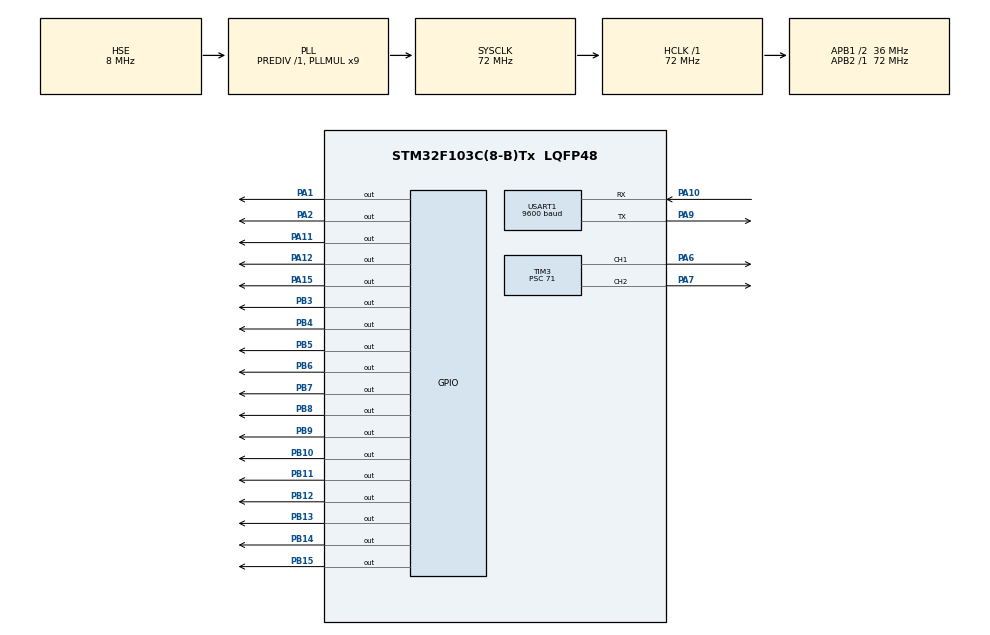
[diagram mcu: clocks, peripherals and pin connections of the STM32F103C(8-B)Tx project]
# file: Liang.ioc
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Mcu.Family=STM32F1
Mcu.Name=STM32F103C(8-B)Tx
Mcu.Package=LQFP48
NVIC.PriorityGroup=NVIC_PRIORITYGROUP_4
PA1.Signal=GPIO_Output
PA10.Mode=Asynchronous
PA10.Signal=USART1_RX
PA11.GPIO_PuPd=GPIO_PULLUP
PA11.PinState=GPIO_PIN_RESET
PA11.Signal=GPIO_Output
PA12.GPIO_PuPd=GPIO_PULLUP
PA12.PinState=GPIO_PIN_RESET
PA12.Signal=GPIO_Output
PA13.Mode=Serial_Wire
PA13.Signal=SYS_JTMS-SWDIO
PA14.Mode=Serial_Wire
PA14.Signal=SYS_JTCK-SWCLK
PA15.GPIO_PuPd=GPIO_PULLUP
PA15.PinState=GPIO_PIN_RESET
PA15.Signal=GPIO_Output
PA2.Signal=GPIO_Output
PA6.Signal=S_TIM3_CH1
PA7.Signal=S_TIM3_CH2
PA9.Mode=Asynchronous
PA9.Signal=USART1_TX
PB10.Signal=GPIO_Output
PB11.Signal=GPIO_Output
PB12.Signal=GPIO_Output
PB13.Signal=GPIO_Output
PB14.GPIO_PuPd=GPIO_PULLUP
PB14.PinState=GPIO_PIN_RESET
PB14.Signal=GPIO_Output
PB15.GPIO_PuPd=GPIO_PULLUP
PB15.PinState=GPIO_PIN_RESET
PB15.Signal=GPIO_Output
PB3.GPIO_PuPd=GPIO_PULLUP
PB3.PinState=GPIO_PIN_RESET
PB3.Signal=GPIO_Output
PB4.GPIO_PuPd=GPIO_PULLUP
PB4.PinState=GPIO_PIN_RESET
PB4.Signal=GPIO_Output
PB5.GPIO_PuPd=GPIO_PULLUP
PB5.PinState=GPIO_PIN_RESET
PB5.Signal=GPIO_Output
PB6.GPIO_PuPd=GPIO_PULLUP
PB6.Signal=GPIO_Output
PB7.GPIO_PuPd=GPIO_PULLUP
PB7.Signal=GPIO_Output
PB8.GPIO_PuPd=GPIO_PULLUP
PB8.Signal=GPIO_Output
PB9.GPIO_PuPd=GPIO_PULLUP
PB9.Signal=GPIO_Output
PD0-OSC_IN.Mode=HSE-External-Oscillator
PD0-OSC_IN.Signal=RCC_OSC_IN
PD1-OSC_OUT.Mode=HSE-External-Oscillator
PD1-OSC_OUT.Signal=RCC_OSC_OUT
ProjectManager.HeapSize=0x200
ProjectManager.StackSize=0x400
ProjectManager.TargetToolchain=MDK-ARM V5.32
RCC.AHBFreq_Value=72000000
RCC.APB1CLKDivider=RCC_HCLK_DIV2
RCC.APB1Freq_Value=36000000
RCC.APB1TimFreq_Value=72000000
RCC.APB2Freq_Value=72000000
RCC.APB2TimFreq_Value=72000000
RCC.HCLKFreq_Value=72000000
RCC.PLLMUL=RCC_PLL_MUL9
RCC.PLLSourceVirtual=RCC_PLLSOURCE_HSE
RCC.SYSCLKFreq_VALUE=72000000
RCC.SYSCLKSource=RCC_SYSCLKSOURCE_PLLCLK
RCC.USBFreq_Value=72000000
SH.S_TIM3_CH1.0=TIM3_CH1,PWM Generation1 CH1
SH.S_TIM3_CH2.0=TIM3_CH2,PWM Generation2 CH2
TIM3.AutoReloadPreload=TIM_AUTORELOAD_PRELOAD_ENABLE
TIM3.Channel-PWM\ Generation1\ CH1=TIM_CHANNEL_1
TIM3.Channel-PWM\ Generation2\ CH2=TIM_CHANNEL_2
TIM3.Period=9999
TIM3.Prescaler=71
USART1.BaudRate=9600
USART1.VirtualMode=VM_ASYNC
board=custom

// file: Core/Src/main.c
/* USER CODE BEGIN Header */
/**
  ******************************************************************************
  * @file           : main.c
  * @brief          : Main program body
  ******************************************************************************
  * @attention
  *
  * Copyright (c) 2023 STMicroelectronics.
  * All rights reserved.
  *
  * This software is licensed under terms that can be found in the LICENSE file
  * in the root directory of this software component.
  * If no LICENSE file comes with this software, it is provided AS-IS.
  *
  ******************************************************************************
  */
/* USER CODE END Header */
#include "main.h"
#include "tim.h"
#include "usart.h"
#include "gpio.h"

/* USER CODE BEGIN Includes */
#define M1_1_H    HAL_GPIO_WritePin(GPIOB,GPIO_PIN_5,GPIO_PIN_SET)
#define M1_2_H    HAL_GPIO_WritePin(GPIOB,GPIO_PIN_4,GPIO_PIN_SET)
#define M2_1_H    HAL_GPIO_WritePin(GPIOB,GPIO_PIN_3,GPIO_PIN_SET)
#define M2_2_H    HAL_GPIO_WritePin(GPIOA,GPIO_PIN_15,GPIO_PIN_SET)
#define M3_1_H    HAL_GPIO_WritePin(GPIOA,GPIO_PIN_12,GPIO_PIN_SET)
#define M3_2_H    HAL_GPIO_WritePin(GPIOA,GPIO_PIN_11,GPIO_PIN_SET)
#define M4_1_H    HAL_GPIO_WritePin(GPIOB,GPIO_PIN_15,GPIO_PIN_SET)
#define M4_2_H    HAL_GPIO_WritePin(GPIOB,GPIO_PIN_14,GPIO_PIN_SET)

#define M1_1_L    HAL_GPIO_WritePin(GPIOB,GPIO_PIN_5,GPIO_PIN_RESET)
#define M1_2_L    HAL_GPIO_WritePin(GPIOB,GPIO_PIN_4,GPIO_PIN_RESET)
#define M2_1_L    HAL_GPIO_WritePin(GPIOB,GPIO_PIN_3,GPIO_PIN_RESET)
#define M2_2_L    HAL_GPIO_WritePin(GPIOA,GPIO_PIN_15,GPIO_PIN_RESET)
#define M3_1_L    HAL_GPIO_WritePin(GPIOA,GPIO_PIN_12,GPIO_PIN_RESET)
#define M3_2_L    HAL_GPIO_WritePin(GPIOA,GPIO_PIN_11,GPIO_PIN_RESET)
#define M4_1_L    HAL_GPIO_WritePin(GPIOB,GPIO_PIN_15,GPIO_PIN_RESET)
#define M4_2_L    HAL_GPIO_WritePin(GPIOB,GPIO_PIN_14,GPIO_PIN_RESET)
/* USER CODE END Includes */

/* USER CODE BEGIN PM */
float MWmotor1=0,MWmotor2=0,MWmotor3=0,MWmotor4=0;
const float K = 1;
uint8_t buf[8];
double sx,sy,oa;
uint8_t pos[10];
int qianduo = 0;
int houduo = 0;
int intake = 0;
/* USER CODE END PM */

/* USER CODE BEGIN PV */
void MecanumWheel(float speedx,float speedy,float omega){
	MWmotor1=-speedx-speedy+K*omega;
	MWmotor2=+speedx-speedy+K*omega;
	MWmotor3=-speedx+speedy+K*omega;
	MWmotor4=+speedx+speedy+K*omega;
}
void Motor_Speed_Control(float motor1, float motor2, float motor3, float motor4)
{
    if(motor1>0) {
		M1_1_H;
		M1_2_L;
	}
	else
		if(motor1<0){
			M1_1_L;
			M1_2_H;
		}
		else
			if(motor1 == 0){
				M1_1_H;
				M1_2_H;
			}
	if(motor2>0) {
		M2_1_H;
		M2_2_L;
	}
	else
		if(motor2<0){
			M2_1_L;
			M2_2_H;
		}
		else
			if(motor2 == 0){
				M2_1_H;
				M2_2_H;
			}
	if(motor3>0) {
		M3_1_H;
		M3_2_L;
	}
	else
		if(motor3<0){
			M3_1_L;
			M3_2_H;
		}
		else
			if(motor3 == 0){
				M3_1_H;
				M3_2_H;
			}
	if(motor4>0) {
		M4_1_H;
		M4_2_L;
	}
	else
		if(motor4<0){
			M4_1_L;
			M4_2_H;
		}
		else
			if(motor4 == 0){
				M4_1_H;
				M4_2_H;
			}
}
/* USER CODE END PV */

void SystemClock_Config(void);

int main(void)
{

  /* MCU Configuration--------------------------------------------------------*/

  /* Reset of all peripherals, Initializes the Flash interface and the Systick. */
  HAL_Init();

  /* Configure the system clock */
  SystemClock_Config();

  /* Initialize all configured peripherals */
  MX_GPIO_Init();
  MX_USART1_UART_Init();
  MX_TIM3_Init();
  /* USER CODE BEGIN 2 */
	HAL_TIM_PWM_Start(&htim3,TIM_CHANNEL_1);
	HAL_TIM_PWM_Start(&htim3,TIM_CHANNEL_2);

	//__HAL_TIM_SetCompare(&htim3, TIM_CHANNEL_2,1150);

  /* USER CODE END 2 */

  /* Infinite loop */
  /* USER CODE BEGIN WHILE */
  while (1)
  {
	  HAL_GPIO_WritePin(GPIOB,GPIO_PIN_9,GPIO_PIN_SET);
	  HAL_GPIO_WritePin(GPIOB,GPIO_PIN_8,GPIO_PIN_SET);
	  HAL_GPIO_WritePin(GPIOB,GPIO_PIN_7,GPIO_PIN_SET);
	  HAL_GPIO_WritePin(GPIOB,GPIO_PIN_6,GPIO_PIN_SET);

	  HAL_UART_Receive(&huart1,buf,1,0xFFFF);
	  if(buf[0]=='F'){
		  oa=1;
	  }
	  if(buf[0]=='D'){
		  oa=-1;
	  }
	  if(buf[0]=='E'){
		  oa=0;
	  }
	  if(buf[0]=='G'){
		  sx=1;
	  }
	  if(buf[0]=='K'){
		  sx=-1;
	  }
	  if(buf[0]=='H'){
		  sy=1;
	  }
	  if(buf[0]=='J'){
		  sy=-1;
	  }
	  if(buf[0]=='I'){
		  sx=0;
		  sy=0;
	  }
	  if(buf[0] == 'A'&&!qianduo){
		  __HAL_TIM_SetCompare(&htim3, TIM_CHANNEL_1,1750);
		  qianduo = 1;
		  buf[0] = 0;
	  }
	  if(buf[0] == 'A'&&qianduo){
		  __HAL_TIM_SetCompare(&htim3, TIM_CHANNEL_1,1500);
		  qianduo = 0;
		  buf[0] = 0;
	  }
	  if(buf[0] == 'B'&&!houduo){
		  __HAL_TIM_SetCompare(&htim3, TIM_CHANNEL_2,800);
		  houduo = 1;
		  buf[0] = 0;
	  }
	  if(buf[0] == 'B'&&houduo){
		  __HAL_TIM_SetCompare(&htim3, TIM_CHANNEL_2,1150);
		  houduo = 0;
		  buf[0] = 0;
	  }
	  if(buf[0] == 'C'&&!intake){
		  HAL_GPIO_WritePin(GPIOA,GPIO_PIN_1,GPIO_PIN_RESET);
		  intake = 1;
		  buf[0] = 0;
	  }
	  if(buf[0] == 'C'&&intake){
		  HAL_GPIO_WritePin(GPIOA,GPIO_PIN_1,GPIO_PIN_SET);
		  intake = 0;
		  buf[0] = 0;

	  }

	  /*
	  for(int i=0;i<8;i++){
		  if(buf[i]==0x5A){
			  index = i;
		  }
	  }
	  for(int i=0;i<8;i++){
		  if(index+i<8){
			  pos[i] = buf[index+i];
		  }
		  if(index+i>=8){
			  pos[i] = buf[index+i-8];
		  }
	  }
	  sx = pos[1];
	  sy = pos[3];
	  oa = pos[5];
	  if(pos[2]==0xFF){
		  sx=-sx;
	  }
	  if(pos[4]==0xFF){
		  sy=-sy;
	  }*/
	  MecanumWheel(sx,sy,oa);
	  Motor_Speed_Control(MWmotor1, MWmotor2,MWmotor3 , MWmotor4);
    /* USER CODE END WHILE */

  }
}

void SystemClock_Config(void)
{
  RCC_OscInitTypeDef RCC_OscInitStruct = {0};
  RCC_ClkInitTypeDef RCC_ClkInitStruct = {0};

  /** Initializes the RCC Oscillators according to the specified parameters
  * in the RCC_OscInitTypeDef structure.
  */
  RCC_OscInitStruct.OscillatorType = RCC_OSCILLATORTYPE_HSE;
  RCC_OscInitStruct.HSEState = RCC_HSE_ON;
  RCC_OscInitStruct.HSEPredivValue = RCC_HSE_PREDIV_DIV1;
  RCC_OscInitStruct.HSIState = RCC_HSI_ON;
  RCC_OscInitStruct.PLL.PLLState = RCC_PLL_ON;
  RCC_OscInitStruct.PLL.PLLSource = RCC_PLLSOURCE_HSE;
  RCC_OscInitStruct.PLL.PLLMUL = RCC_PLL_MUL9;
  if (HAL_RCC_OscConfig(&RCC_OscInitStruct) != HAL_OK)
  {
    Error_Handler();
  }

  /** Initializes the CPU, AHB and APB buses clocks
  */
  RCC_ClkInitStruct.ClockType = RCC_CLOCKTYPE_HCLK|RCC_CLOCKTYPE_SYSCLK
                              |RCC_CLOCKTYPE_PCLK1|RCC_CLOCKTYPE_PCLK2;
  RCC_ClkInitStruct.SYSCLKSource = RCC_SYSCLKSOURCE_PLLCLK;
  RCC_ClkInitStruct.AHBCLKDivider = RCC_SYSCLK_DIV1;
  RCC_ClkInitStruct.APB1CLKDivider = RCC_HCLK_DIV2;
  RCC_ClkInitStruct.APB2CLKDivider = RCC_HCLK_DIV1;

  if (HAL_RCC_ClockConfig(&RCC_ClkInitStruct, FLASH_LATENCY_2) != HAL_OK)
  {
    Error_Handler();
  }
}

void Error_Handler(void)
{
  __disable_irq();
  while (1)
  {
  }
}
